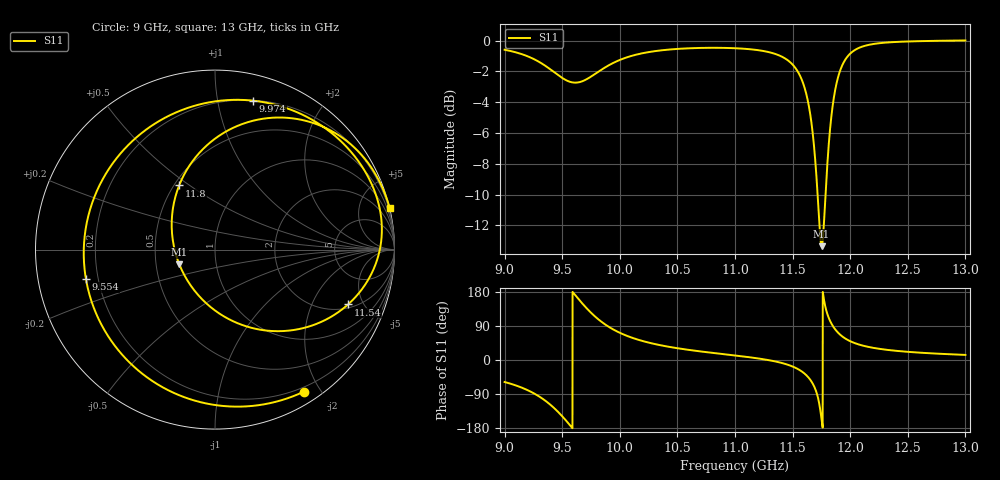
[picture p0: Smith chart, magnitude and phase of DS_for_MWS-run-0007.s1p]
! TOUCHSTONE file generated by CST DESIGN STUDIO
! Date and time: Tue Feb  4 18:15:37 2025
! Project name: C:\Work\MatlabApps\UnitCellOptimizationMatlab\CST\unitcell.cst
! Tree item: Tasks\Sweep1\SPara1\S-Parameters
! Header version: 2024
! Port assignment regex: !\s*Touchstone port\s*([0-9]+)\s*=\s*(CST MWS port|CST DES external port|CST DES block port)\s*(.+)\s* \(\"(.*)\"\)(\s*mode\s*([0-9]+))?.*
! Touchstone port assignment:
! Touchstone port 1 = CST DES external port 1 ("")
# GHz S MA R 50
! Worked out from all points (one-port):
!   4001 points, 9 GHz to 13 GHz, reference 50 ohm
!   lowest |S11| = -13.3 dB at 11.75 GHz (marker M1), VSWR 1.55, Z = 33 - j5.64 ohm
!   |S11| at or under -10 dB: 11.72 GHz to 11.79 GHz (68.76 MHz wide, 0.585 % of centre)
!   S11 on the Smith chart (normalised r, x): 9 GHz: 0.15, -1.79; 9.554 GHz: 0.15, -0.11; 9.974 GHz: 0.20, +1.27; 11.54 GHz: 2.23, -3.81; 11.8 GHz: 0.53, +0.46; 13 GHz: -0.01, +8.49
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9  0.9333 -58.1
9.155  0.9015 -73.7
9.305  0.8499 -97.2
9.405  0.8021 -120.1
9.5  0.756 -148.5
9.554  0.7375 -167.2
9.648  0.7323 158.5
9.763  0.7691 120.9
9.858  0.8116 97.0
9.974  0.8565 75.6
10  0.8648 71.8
10.215  0.912 48.7
10.5  0.939 31.1
11  0.9439 12.0
11.321  0.9113 -2.0
11.5  0.8353 -17.2
11.537  0.8017 -22.4
11.608  0.6945 -37.0
11.671  0.5138 -60.4
11.712  0.339 -90.1
11.752  0.2151 -157.7
11.804  0.4095 119.2
11.842  0.5904 93.5
11.881  0.7247 76.6
12  0.9066 49.6
12.179  0.971 33.3
12.5  0.9928 21.6
13  1 13.4
